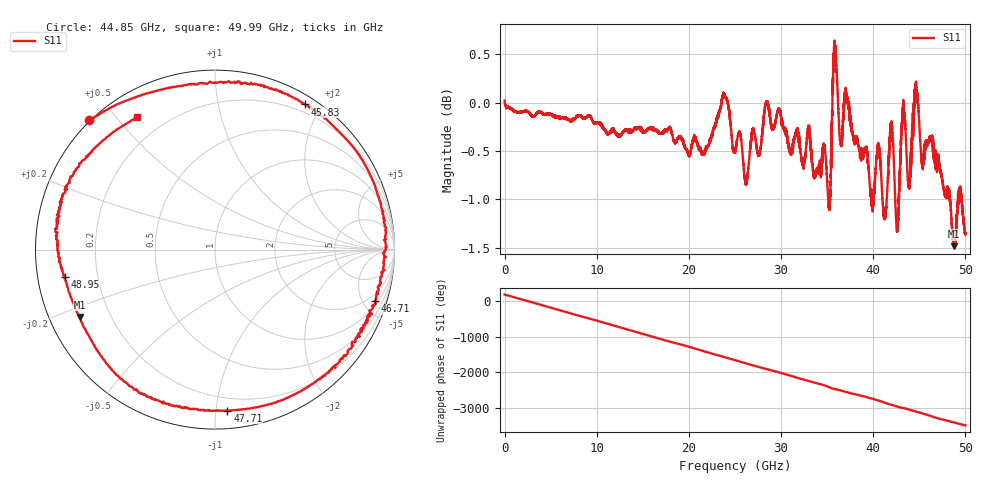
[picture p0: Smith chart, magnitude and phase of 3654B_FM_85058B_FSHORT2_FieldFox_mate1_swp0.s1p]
!Created with skrf (http://scikit-rf.org).
# Hz S RI R 50.0
!freq ReS11 ImS11
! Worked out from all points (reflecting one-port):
!   10000 points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, 5.3 MHz to 50 GHz, reference 50 ohm
!   lowest |S11| = -1.5 dB at 48.73 GHz (marker M1), VSWR 11.74, Z = 4.49 - j11.7 ohm
!   phase of S11 starts at 180 deg and turns -3660 deg over the sweep
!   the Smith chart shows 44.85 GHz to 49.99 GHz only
!   S11 on the Smith chart (normalised r, x): 44.85 GHz: -0.00, +0.42; 45.83 GHz: 0.10, +1.80; 46.71 GHz: 1.31, -6.09; 47.71 GHz: 0.11, -1.07; 48.95 GHz: 0.08, -0.09; 49.99 GHz: 0.10, +0.57
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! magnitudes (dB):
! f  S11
! 5.3 MHz  0.0
! 6.255 GHz  -0.2
! 12.51 GHz  -0.3
! 18.76 GHz  -0.4
! 23.86 GHz  0.1
! 25.01 GHz  -0.5
! 26.23 GHz  -0.8
! 28.46 GHz  0.0
! 31.26 GHz  -0.5
! 35.19 GHz  -1.1
! 35.86 GHz  0.6
! 36.45 GHz  -0.4
! 37.51 GHz  -0.2
! 39.86 GHz  -1.0
! 40.59 GHz  -0.4
! 41.23 GHz  -1.1
! 41.94 GHz  -0.2
! 42.57 GHz  -1.3
! 43.24 GHz  0.0
! 43.76 GHz  -0.8
! 44.85 GHz  0.0
! 45.83 GHz  -0.4
! 46.71 GHz  -0.6
! 47.71 GHz  -0.9
! 48.73 GHz  -1.5
! 48.95 GHz  -1.4
! 49.99 GHz  -1.4
! 50 GHz  -1.4
